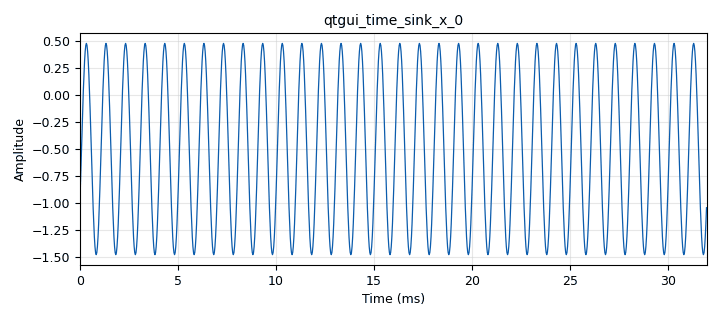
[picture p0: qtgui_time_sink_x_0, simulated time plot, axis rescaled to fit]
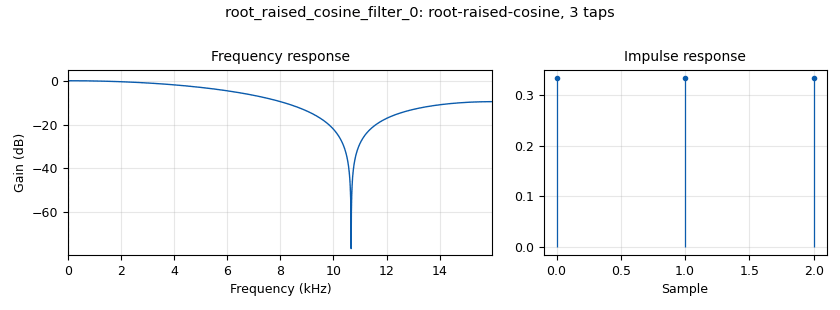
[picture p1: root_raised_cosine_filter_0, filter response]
options:
  parameters:
    author: avi
    generate_options: qt_gui
    id: ffff
    output_language: python
    title: Not titled yet
  states: {}

blocks:
- name: samp_rate
  id: variable
  parameters:
    value: '32000'
  states: {}
- name: analog_sig_source_x_0
  id: analog_sig_source_x
  parameters:
    amp: '1'
    freq: '1000'
    offset: '0'
    phase: '0'
    samp_rate: samp_rate
    type: float
    waveform: analog.GR_SIN_WAVE
  states: {}
- name: blocks_add_const_vxx_0
  id: blocks_add_const_vxx
  parameters:
    const: '-.5'
    type: float
  states: {}
- name: qtgui_time_sink_x_0
  id: qtgui_time_sink_x
  parameters:
    size: '1024'
    srate: samp_rate
    type: float
  states: {}
- name: root_raised_cosine_filter_0
  id: root_raised_cosine_filter
  parameters:
    alpha: '0.5'
    decim: '1'
    gain: '1'
    ntaps: '2'
    samp_rate: samp_rate
    sym_rate: '1.0'
    type: fir_filter_fff
  states: {}
- name: root_raised_cosine_filter_0_0
  id: root_raised_cosine_filter
  parameters:
    alpha: '0.5'
    decim: '1'
    gain: '1'
    ntaps: '2'
    samp_rate: samp_rate
    sym_rate: '1.0'
    type: fir_filter_fff
  states: {}

connections:
- [analog_sig_source_x_0, '0', blocks_add_const_vxx_0, '0']
- [blocks_add_const_vxx_0, '0', root_raised_cosine_filter_0, '0']
- [root_raised_cosine_filter_0, '0', root_raised_cosine_filter_0_0, '0']
- [root_raised_cosine_filter_0_0, '0', qtgui_time_sink_x_0, '0']

metadata:
  file_format: 1
